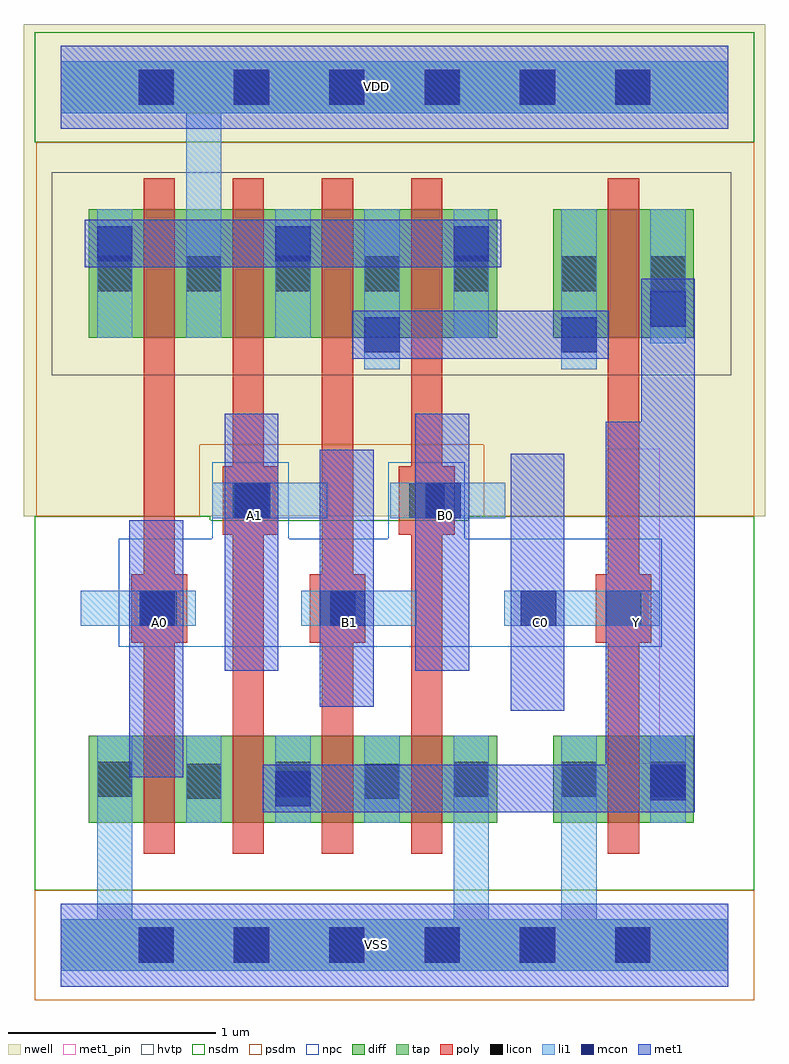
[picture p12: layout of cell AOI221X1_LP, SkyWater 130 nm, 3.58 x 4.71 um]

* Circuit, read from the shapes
.subckt AOI221X1_LP A0 A1 B0 B1 C0 VDD VSS Y
XM1 n1 A0 VSS VSS sky130_fd_pr__nfet_01v8 w=0.42 l=0.15
XM2 Y A1 n1 VSS sky130_fd_pr__nfet_01v8 w=0.42 l=0.15
XM3 n2 B1 Y VSS sky130_fd_pr__nfet_01v8 w=0.42 l=0.15
XM4 VSS B0 n2 VSS sky130_fd_pr__nfet_01v8 w=0.42 l=0.15
XM5 Y C0 VSS VSS sky130_fd_pr__nfet_01v8 w=0.42 l=0.15
XM6 VDD A0 n3 VDD sky130_fd_pr__pfet_01v8_hvt w=0.62 l=0.15
XM7 n3 A1 VDD VDD sky130_fd_pr__pfet_01v8_hvt w=0.62 l=0.15
XM8 n4 B1 n3 VDD sky130_fd_pr__pfet_01v8_hvt w=0.62 l=0.15
XM9 n3 B0 n4 VDD sky130_fd_pr__pfet_01v8_hvt w=0.62 l=0.15
XM10 Y C0 n4 VDD sky130_fd_pr__pfet_01v8_hvt w=0.62 l=0.15
.ends

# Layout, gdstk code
from math import pi, radians
import gdstk
lib = gdstk.Library(unit=1e-6, precision=1e-09)
def R(c, l, rs):  # rectangles x0, y0, x1, y1
    for r in rs: c.add(gdstk.rectangle(r[:2], r[2:], *l))
def A(c, l, x, y, w, h, nx, ny, dx, dy):  # array of equal rectangles
    R(c, l, [(x+i*dx, y+j*dy, x+i*dx+w, y+j*dy+h) for i in range(nx) for j in range(ny)])
def P(c, l, *ps):  # polygons
    for p in ps: c.add(gdstk.Polygon(p, *l))
nwell = (64, 20)
diff = (65, 20)
tap = (65, 44)
poly = (66, 20)
licon = (66, 44)
li1 = (67, 20)
mcon = (67, 44)
met1_pin = (68, 16)
met1 = (68, 20)
hvtp = (78, 44)
nsdm = (93, 44)
psdm = (94, 20)
npc = (95, 20)

l1m1_c_cdns_750721840971 = lib.new_cell('L1M1_C_CDNS_750721840971')
R(l1m1_c_cdns_750721840971, li1, [(-0.085,-0.165,0.085,0.165)])
R(l1m1_c_cdns_750721840971, mcon, [(-0.085,-0.085,0.085,0.085)])
R(l1m1_c_cdns_750721840971, met1, [(-0.115,-0.145,0.115,0.145)])

l1m1_c_cdns_750721840973 = lib.new_cell('L1M1_C_CDNS_750721840973')
R(l1m1_c_cdns_750721840973, li1, [(-0.165,-0.085,0.165,0.085)])
R(l1m1_c_cdns_750721840973, mcon, [(-0.085,-0.085,0.085,0.085)])
R(l1m1_c_cdns_750721840973, met1, [(-0.115,-0.145,0.115,0.145)])

pyl1con_c_cdns_750721840 = lib.new_cell('PYL1CON_C_CDNS_750721840972')
R(pyl1con_c_cdns_750721840, poly, [(-0.135,-0.165,0.135,0.165)])
R(pyl1con_c_cdns_750721840, licon, [(-0.085,-0.085,0.085,0.085)])
R(pyl1con_c_cdns_750721840, npc, [(-0.185,-0.185,0.185,0.185)])

aoi221x1_lp = lib.new_cell('AOI221X1_LP')
R(aoi221x1_lp, nwell, [(-0.18,2.07,3.4,4.305), (-0.045,2.75,0.955,3.73), (0.595,2.75,1.385,3.73), (1.025,2.75,1.815,3.73), (1.455,2.75,2.285,3.73), (2.195,2.75,3.235,3.73), (-0.18,3.875,3.4,4.445)])
A(aoi221x1_lp, diff, 0.4, 0.59, 0.15, 0.42, 4, 1, 0.43, 0)
A(aoi221x1_lp, diff, 0.55, 0.59, 0.225, 0.42, 3, 1, 0.43, 0)
A(aoi221x1_lp, diff, 0.775, 0.59, 0.055, 0.42, 3, 1, 0.43, 0)
A(aoi221x1_lp, diff, 0.4, 2.93, 0.15, 0.62, 4, 1, 0.43, 0)
A(aoi221x1_lp, diff, 0.55, 2.93, 0.225, 0.62, 3, 1, 0.43, 0)
A(aoi221x1_lp, diff, 0.775, 2.93, 0.055, 0.62, 3, 1, 0.43, 0)
R(aoi221x1_lp, diff, [(0.135,0.59,0.4,1.01), (1.84,0.59,2.105,1.01), (2.375,0.59,2.64,1.01), (2.64,0.59,2.79,1.01), (2.79,0.59,3.055,1.01), (0.135,2.93,0.4,3.55), (1.84,2.93,2.105,3.55), (2.375,2.93,2.64,3.55), (2.64,2.93,2.79,3.55), (2.79,2.93,3.055,3.55)])
A(aoi221x1_lp, poly, 0.4, 0.44, 0.15, 0.055, 4, 2, 0.43, 0.665)
A(aoi221x1_lp, poly, 0.4, 0.495, 0.15, 0.095, 4, 2, 0.43, 0.515)
A(aoi221x1_lp, poly, 0.4, 0.59, 0.15, 0.42, 4, 1, 0.43, 0)
A(aoi221x1_lp, poly, 0.4, 2.78, 0.15, 0.055, 4, 2, 0.43, 0.865)
A(aoi221x1_lp, poly, 0.4, 2.835, 0.15, 0.095, 4, 2, 0.43, 0.715)
A(aoi221x1_lp, poly, 0.4, 2.93, 0.15, 0.62, 4, 1, 0.43, 0)
R(aoi221x1_lp, poly, [(2.64,0.44,2.79,0.495), (2.64,0.495,2.79,0.59), (2.64,0.59,2.79,1.01), (2.64,1.01,2.79,1.105), (2.64,1.105,2.79,1.16), (2.64,2.78,2.79,2.835), (2.64,2.835,2.79,2.93), (2.64,2.93,2.79,3.55), (2.64,3.55,2.79,3.645), (2.64,3.645,2.79,3.7)])
A(aoi221x1_lp, licon, 0.375, -0.085, 0.17, 0.17, 6, 2, 0.46, 4.14)
A(aoi221x1_lp, licon, 0.175, 0.715, 0.17, 0.17, 3, 1, 0.86, 0)
A(aoi221x1_lp, licon, 0.175, 3.155, 0.17, 0.17, 5, 1, 0.43, 0)
R(aoi221x1_lp, licon, [(0.605,0.705,0.775,0.875), (1.465,0.705,1.635,0.875), (2.415,0.715,2.585,0.885), (2.845,0.715,3.015,0.885), (2.415,3.155,2.585,3.325), (2.845,3.155,3.015,3.325)])
A(aoi221x1_lp, li1, 0.175, 0.59, 0.17, 0.42, 3, 1, 0.86, 0)
A(aoi221x1_lp, li1, 0.175, 2.93, 0.17, 0.62, 5, 1, 0.43, 0)
R(aoi221x1_lp, li1, [(2.415,0.59,2.585,1.01), (2.845,0.59,3.015,1.01), (2.415,2.93,2.585,3.55), (2.845,2.93,3.015,3.55)])
A(aoi221x1_lp, mcon, 0.375, -0.085, 0.17, 0.17, 6, 2, 0.46, 4.14)
R(aoi221x1_lp, met1_pin, [(0.33,0.81,0.59,2.05), (2.63,0.875,2.89,2.395), (2.17,1.13,2.43,2.37), (1.25,1.15,1.51,2.39), (0.79,1.325,1.05,2.565), (1.71,1.325,1.97,2.565)])
R(aoi221x1_lp, met1, [(2.63,0.64,3.06,2.525)])
R(aoi221x1_lp, hvtp, [(-0.045,2.75,0.955,3.73), (0.595,2.75,1.385,3.73), (1.025,2.75,1.815,3.73), (1.455,2.75,2.285,3.73), (2.195,2.75,3.235,3.73)])
R(aoi221x1_lp, nsdm, [(-0.005,0.46,0.785,1.14), (0.765,0.46,1.215,1.14), (1.195,0.46,1.645,1.14), (1.625,0.46,2.245,1.14), (2.235,0.46,3.195,1.14), (-0.125,3.875,3.345,4.405), (-0.125,3.93,3.345,4.35)])
P(aoi221x1_lp, nsdm, [(3.345,2.07),(1.965,2.07),(1.965,2.05),(0.72,2.05),(0.72,2.07),(-0.125,2.07),(-0.125,0.265),(3.345,0.265)])
R(aoi221x1_lp, psdm, [(-0.125,-0.265,3.345,0.265), (-0.125,-0.21,3.345,0.21), (-0.005,2.8,0.785,3.68), (0.765,2.8,1.215,3.68), (1.195,2.8,1.645,3.68), (1.625,2.8,2.245,3.68), (2.235,2.8,3.195,3.68)])
P(aoi221x1_lp, psdm, [(3.345,3.875),(-0.12,3.875),(-0.12,2.07),(0.67,2.07),(0.67,2.415),(2.04,2.415),(2.04,2.07),(3.345,2.07)])
R(aoi221x1_lp, npc, [(0.28,1.44,2.9,1.96)])
aoi221x1_lp.add(gdstk.FlexPath([(0.475,1.16),(0.475,1.625)], 0.15, ends="flush", simple_path=True, layer=66, datatype=20))  # poly
aoi221x1_lp.add(gdstk.FlexPath([(2.715,1.16),(2.715,2.78)], 0.15, ends="flush", simple_path=True, layer=66, datatype=20))  # poly
aoi221x1_lp.add(gdstk.FlexPath([(1.765,2.78),(1.765,1.16)], 0.15, ends="flush", simple_path=True, layer=66, datatype=20))  # poly
aoi221x1_lp.add(gdstk.FlexPath([(1.335,1.16),(1.335,2.78)], 0.15, ends="flush", simple_path=True, layer=66, datatype=20))  # poly
aoi221x1_lp.add(gdstk.FlexPath([(0.905,1.16),(0.905,2.78)], 0.15, ends="flush", simple_path=True, layer=66, datatype=20))  # poly
aoi221x1_lp.add(gdstk.FlexPath([(0.475,2.78),(0.475,1.625)], 0.15, ends="flush", simple_path=True, layer=66, datatype=20))  # poly
aoi221x1_lp.add(gdstk.FlexPath([(3.135,0),(0,0)], 0.25, ends=(0.085, 0), simple_path=True, layer=67, datatype=20))  # li1
aoi221x1_lp.add(gdstk.FlexPath([(2.145,2.145),(1.59,2.145)], 0.17, ends="flush", simple_path=True, layer=67, datatype=20))  # li1
aoi221x1_lp.add(gdstk.FlexPath([(2.335,1.625),(2.89,1.625)], 0.17, ends="flush", simple_path=True, layer=67, datatype=20))  # li1
aoi221x1_lp.add(gdstk.FlexPath([(0.095,1.625),(0.65,1.625)], 0.17, ends="flush", simple_path=True, layer=67, datatype=20))  # li1
aoi221x1_lp.add(gdstk.FlexPath([(3.135,4.14),(0,4.14)], 0.25, ends=(0.085, 0), simple_path=True, layer=67, datatype=20))  # li1
aoi221x1_lp.add(gdstk.FlexPath([(2.5,0.59),(2.5,0)], 0.17, ends="flush", simple_path=True, layer=67, datatype=20))  # li1
aoi221x1_lp.add(gdstk.FlexPath([(1.98,0.59),(1.98,0)], 0.17, ends="flush", simple_path=True, layer=67, datatype=20))  # li1
aoi221x1_lp.add(gdstk.FlexPath([(0.69,4.14),(0.69,3.55)], 0.17, ends="flush", simple_path=True, layer=67, datatype=20))  # li1
aoi221x1_lp.add(gdstk.FlexPath([(0.26,0.59),(0.26,0)], 0.17, ends="flush", simple_path=True, layer=67, datatype=20))  # li1
aoi221x1_lp.add(gdstk.FlexPath([(0.69,1.01),(0.69,0.59)], 0.17, ends="flush", simple_path=True, layer=67, datatype=20))  # li1
aoi221x1_lp.add(gdstk.FlexPath([(1.55,1.01),(1.55,0.59)], 0.17, ends="flush", simple_path=True, layer=67, datatype=20))  # li1
aoi221x1_lp.add(gdstk.FlexPath([(1.715,1.625),(1.16,1.625)], 0.17, ends="flush", simple_path=True, layer=67, datatype=20))  # li1
aoi221x1_lp.add(gdstk.FlexPath([(1.285,2.145),(0.73,2.145)], 0.17, ends="flush", simple_path=True, layer=67, datatype=20))  # li1
aoi221x1_lp.add(gdstk.FlexPath([(0,0),(3.22,0)], 0.25, ends="flush", simple_path=True, layer=65, datatype=44))  # tap
aoi221x1_lp.add(gdstk.FlexPath([(0,4.14),(3.22,4.14)], 0.25, ends="flush", simple_path=True, layer=65, datatype=44))  # tap
aoi221x1_lp.add(gdstk.FlexPath([(0,0),(3.22,0)], 0.4, ends="flush", simple_path=True, layer=68, datatype=20))  # met1
aoi221x1_lp.add(gdstk.FlexPath([(0,4.14),(3.22,4.14)], 0.4, ends="flush", simple_path=True, layer=68, datatype=20))  # met1
aoi221x1_lp.add(gdstk.FlexPath([(2.76,2.395),(2.93,2.395)], 0.26, ends="extended", simple_path=True, layer=68, datatype=20))  # met1
aoi221x1_lp.add(gdstk.FlexPath([(2.3,1.13),(2.3,2.37)], 0.26, ends="flush", simple_path=True, layer=68, datatype=20))  # met1
aoi221x1_lp.add(gdstk.FlexPath([(0.92,1.325),(0.92,2.565)], 0.26, ends="flush", simple_path=True, layer=68, datatype=20))  # met1
aoi221x1_lp.add(gdstk.FlexPath([(1.84,1.325),(1.84,2.565)], 0.26, ends="flush", simple_path=True, layer=68, datatype=20))  # met1
aoi221x1_lp.add(gdstk.FlexPath([(0.975,0.755),(3.045,0.755)], 0.23, ends="flush", simple_path=True, layer=68, datatype=20))  # met1
aoi221x1_lp.add(gdstk.FlexPath([(1.405,2.945),(2.645,2.945)], 0.23, ends="flush", simple_path=True, layer=68, datatype=20))  # met1
aoi221x1_lp.add(gdstk.FlexPath([(0.115,3.385),(2.125,3.385)], 0.23, ends="flush", simple_path=True, layer=68, datatype=20))  # met1
aoi221x1_lp.add(gdstk.FlexPath([(2.76,2.395),(2.76,0.77)], 0.26, ends=(0, 0.13), simple_path=True, layer=68, datatype=20))  # met1
aoi221x1_lp.add(gdstk.FlexPath([(2.93,2.395),(2.93,3.07)], 0.26, ends=(0.13, 0.145), simple_path=True, layer=68, datatype=20))  # met1
aoi221x1_lp.add(gdstk.FlexPath([(1.38,1.15),(1.38,2.39)], 0.26, ends="flush", simple_path=True, layer=68, datatype=20))  # met1
aoi221x1_lp.add(gdstk.FlexPath([(0.46,0.81),(0.46,2.05)], 0.26, ends="flush", simple_path=True, layer=68, datatype=20))  # met1
aoi221x1_lp.add(gdstk.FlexPath([(0,4.14),(3.22,4.14)], 0.4, ends="flush", simple_path=True, layer=68, datatype=16))  # met1_pin
aoi221x1_lp.add(gdstk.FlexPath([(0,0),(3.22,0)], 0.4, ends="flush", simple_path=True, layer=68, datatype=16))  # met1_pin
aoi221x1_lp.add(gdstk.Reference(l1m1_c_cdns_750721840971, (2.93,3.07)))
aoi221x1_lp.add(gdstk.Reference(l1m1_c_cdns_750721840971, (2.93,0.785)))
aoi221x1_lp.add(gdstk.Reference(l1m1_c_cdns_750721840973, (2.305,1.625), x_reflection=True))
aoi221x1_lp.add(gdstk.Reference(l1m1_c_cdns_750721840973, (1.845,2.145), x_reflection=True))
aoi221x1_lp.add(gdstk.Reference(l1m1_c_cdns_750721840973, (1.385,1.625), x_reflection=True))
aoi221x1_lp.add(gdstk.Reference(l1m1_c_cdns_750721840973, (0.925,2.145), x_reflection=True))
aoi221x1_lp.add(gdstk.Reference(l1m1_c_cdns_750721840973, (1.12,0.755), rotation=pi/2))
aoi221x1_lp.add(gdstk.Reference(l1m1_c_cdns_750721840973, (1.55,2.945), rotation=pi/2))
aoi221x1_lp.add(gdstk.Reference(l1m1_c_cdns_750721840973, (1.98,3.385), rotation=pi/2))
aoi221x1_lp.add(gdstk.Reference(l1m1_c_cdns_750721840973, (1.12,3.385), rotation=pi/2))
aoi221x1_lp.add(gdstk.Reference(l1m1_c_cdns_750721840973, (0.26,3.385), rotation=pi/2))
aoi221x1_lp.add(gdstk.Reference(l1m1_c_cdns_750721840973, (2.5,2.945), rotation=pi/2))
aoi221x1_lp.add(gdstk.Reference(l1m1_c_cdns_750721840973, (0.465,1.625), x_reflection=True))
aoi221x1_lp.add(gdstk.Reference(pyl1con_c_cdns_750721840, (1.765,2.145)))
aoi221x1_lp.add(gdstk.Reference(pyl1con_c_cdns_750721840, (0.915,2.145)))
aoi221x1_lp.add(gdstk.Reference(pyl1con_c_cdns_750721840, (1.335,1.625)))
aoi221x1_lp.add(gdstk.Reference(pyl1con_c_cdns_750721840, (0.475,1.625)))
aoi221x1_lp.add(gdstk.Reference(pyl1con_c_cdns_750721840, (2.715,1.625)))
aoi221x1_lp.add(gdstk.Label('VSS', (1.525,0.005), layer=68, texttype=5))
aoi221x1_lp.add(gdstk.Label('VDD', (1.525,4.145), layer=68, texttype=5))
aoi221x1_lp.add(gdstk.Label('B0', (1.855,2.075), layer=68, texttype=5))
aoi221x1_lp.add(gdstk.Label('C0', (2.315,1.555), layer=68, texttype=5))
aoi221x1_lp.add(gdstk.Label('B1', (1.395,1.555), layer=68, texttype=5))
aoi221x1_lp.add(gdstk.Label('Y', (2.78,1.555), layer=68, texttype=5))
aoi221x1_lp.add(gdstk.Label('A0', (0.475,1.555), layer=68, texttype=5))
aoi221x1_lp.add(gdstk.Label('A1', (0.935,2.075), layer=68, texttype=5))

lib.write_gds('AOI221X1_LP.gds')
